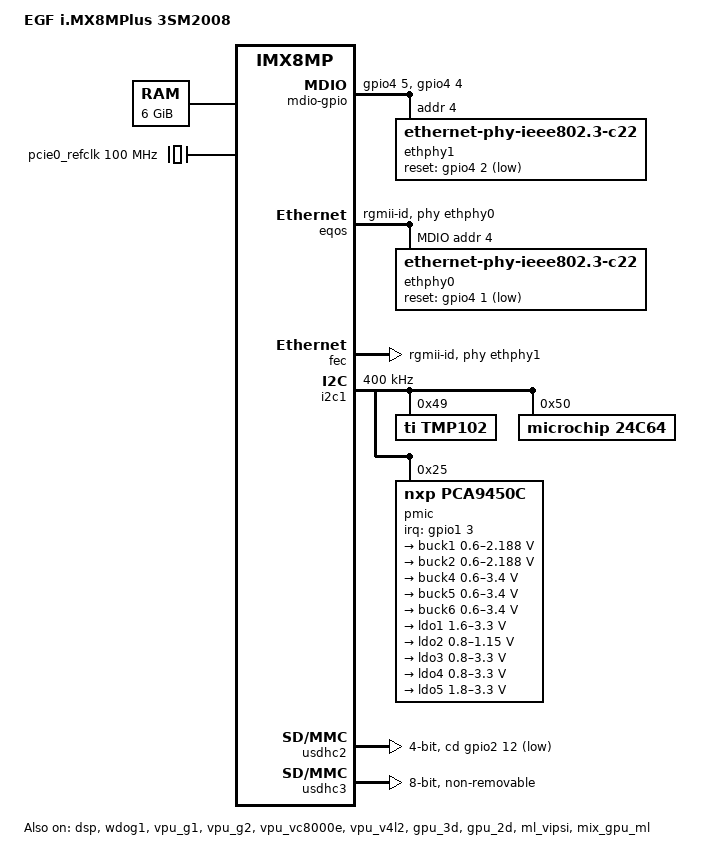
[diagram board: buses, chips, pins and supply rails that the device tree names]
// SPDX-License-Identifier: (GPL-2.0+ OR MIT)
/*
 * Copyright 2019 NXP
 */

/dts-v1/;

#include <dt-bindings/phy/phy-imx8-pcie.h>
#include <dt-bindings/usb/pd.h>
#include "imx8mp.dtsi"

/ {
	model = "EGF i.MX8MPlus 3SM2008";
	compatible = "fsl,imx8mp-evk", "fsl,imx8mp";

	chosen {
		stdout-path = &uart2;
	};


	memory@40000000 {
		device_type = "memory";
		reg = <0x0 0x40000000 0 0xc0000000>,
		      <0x1 0x00000000 0 0xc0000000>;
	};

	pcie0_refclk: pcie0-refclk {
		compatible = "fixed-clock";
		#clock-cells = <0>;
		clock-frequency = <100000000>;
	};



	/*Used mdio gpio driver because of signal inversion on 0700*/

	mdio-gpio {
		compatible = "virtual,mdio-gpio";
		#address-cells = <1>;
		#size-cells = <0>;
		gpios = <&gpio4 5 GPIO_ACTIVE_HIGH
					&gpio4 4 GPIO_ACTIVE_HIGH>;

		ethphy1: ethernet-phy@4 {
			compatible = "ethernet-phy-ieee802.3-c22";
			reg = <4>;
			eee-broken-1000t;
			reset-gpios = <&gpio4 2 GPIO_ACTIVE_LOW>;
			reset-assert-us = <10000>;
			reset-deassert-us = <80000>;
		};
	};


};


&resmem {

	/delete-node/ linux,cma;
	
	
	linux,cma {
		compatible = "shared-dma-pool";
		reusable;
		size = <0 0x0c000000>;
		alloc-ranges = <0 0x40000000 0 0x50000000>;
		linux,cma-default;
	}; 
	
	/delete-node/ gpu_reserved@100000000;
	
	gpu_reserved: gpu_reserved@50000000 {
	no-map;
	reg = <0x0 0x50000000 0 0x10000000>;
	};
	
};


&A53_0 {
	cpu-supply = <&buck2>;
};

&A53_1 {
	cpu-supply = <&buck2>;
};

&A53_2 {
	cpu-supply = <&buck2>;
};

&A53_3 {
	cpu-supply = <&buck2>;
};

&dsp {
	status = "okay";
};

&pwm1 {
	status = "disabled";
};

&pwm2 {

	status = "disabled";
};

&pwm4 {
	
	status = "disabled";
};

&aud2htx {
	status = "disabled";
};



&eqos {
	pinctrl-names = "default";
	pinctrl-0 = <&pinctrl_eqos>;
	phy-mode = "rgmii-id";
	phy-handle = <&ethphy0>;
	snps,force_thresh_dma_mode;
	snps,mtl-tx-config = <&mtl_tx_setup>;
	snps,mtl-rx-config = <&mtl_rx_setup>;
	status = "okay";

	mdio {
		compatible = "snps,dwmac-mdio";
		#address-cells = <1>;
		#size-cells = <0>;

		ethphy0: ethernet-phy@4 {
			compatible = "ethernet-phy-ieee802.3-c22";
			reg = <4>;
			eee-broken-1000t;
			reset-gpios = <&gpio4 1 GPIO_ACTIVE_LOW>;
			reset-assert-us = <10000>;
			reset-deassert-us = <80000>;
			realtek,clkout-disable;
		};
	};

	mtl_tx_setup: tx-queues-config {
		snps,tx-queues-to-use = <5>;
		snps,tx-sched-sp;

		queue0 {
			snps,dcb-algorithm;
			snps,priority = <0x1>;
		};

		queue1 {
			snps,dcb-algorithm;
			snps,priority = <0x2>;
		};

		queue2 {
			snps,dcb-algorithm;
			snps,priority = <0x4>;
		};

		queue3 {
			snps,dcb-algorithm;
			snps,priority = <0x8>;
		};

		queue4 {
			snps,dcb-algorithm;
			snps,priority = <0xf0>;
		};
	};

	mtl_rx_setup: rx-queues-config {
		snps,rx-queues-to-use = <5>;
		snps,rx-sched-sp;

		queue0 {
			snps,dcb-algorithm;
			snps,priority = <0x1>;
			snps,map-to-dma-channel = <0>;
		};

		queue1 {
			snps,dcb-algorithm;
			snps,priority = <0x2>;
			snps,map-to-dma-channel = <1>;
		};

		queue2 {
			snps,dcb-algorithm;
			snps,priority = <0x4>;
			snps,map-to-dma-channel = <2>;
		};

		queue3 {
			snps,dcb-algorithm;
			snps,priority = <0x8>;
			snps,map-to-dma-channel = <3>;
		};

		queue4 {
			snps,dcb-algorithm;
			snps,priority = <0xf0>;
			snps,map-to-dma-channel = <4>;
		};
	};
};

&fec {
	pinctrl-names = "default";
	pinctrl-0 = <&pinctrl_fec>;
	phy-mode = "rgmii-id";
	phy-handle = <&ethphy1>;
	fsl,magic-packet;
	status = "okay";
};

&flexcan1 {
	status = "disabled";
};

&flexcan2 {

	status = "disabled";
};

&i2c1 {
	clock-frequency = <400000>;
	pinctrl-names = "default";
	pinctrl-0 = <&pinctrl_i2c1>;
	status = "okay";

	// Temp Sensor SoM
	tmp102@49 {
		compatible = "ti,tmp102";
		reg = <0x49>;
	};

	// SOM  EEPROM
	24c64@50 {
		compatible = "microchip,24c64";
		pinctrl-names = "default";
		pinctrl-0 = <&pinctrl_eeprom_som>;
		reg = <0x50>;
		pagesize = <16>;
	};

	pmic@25 {
		compatible = "nxp,pca9450c";
		reg = <0x25>;
		pinctrl-names = "default";
		pinctrl-0 = <&pinctrl_pmic>;
		interrupt-parent = <&gpio1>;
		interrupts = <3 IRQ_TYPE_LEVEL_LOW>;

		regulators {
			buck1: BUCK1 {
				regulator-name = "BUCK1";
				regulator-min-microvolt = <600000>;
				regulator-max-microvolt = <2187500>;
				regulator-boot-on;
				regulator-always-on;
				regulator-ramp-delay = <3125>;
			};

			buck2: BUCK2 {
				regulator-name = "BUCK2";
				regulator-min-microvolt = <600000>;
				regulator-max-microvolt = <2187500>;
				regulator-boot-on;
				regulator-always-on;
				regulator-ramp-delay = <3125>;
				nxp,dvs-run-voltage = <950000>;
				nxp,dvs-standby-voltage = <850000>;
			};

			buck4: BUCK4{
				regulator-name = "BUCK4";
				regulator-min-microvolt = <600000>;
				regulator-max-microvolt = <3400000>;
				regulator-boot-on;
				regulator-always-on;
			};

			buck5: BUCK5{
				regulator-name = "BUCK5";
				regulator-min-microvolt = <600000>;
				regulator-max-microvolt = <3400000>;
				regulator-boot-on;
				regulator-always-on;
			};

			buck6: BUCK6 {
				regulator-name = "BUCK6";
				regulator-min-microvolt = <600000>;
				regulator-max-microvolt = <3400000>;
				regulator-boot-on;
				regulator-always-on;
			};

			ldo1: LDO1 {
				regulator-name = "LDO1";
				regulator-min-microvolt = <1600000>;
				regulator-max-microvolt = <3300000>;
				regulator-boot-on;
				regulator-always-on;
			};

			ldo2: LDO2 {
				regulator-name = "LDO2";
				regulator-min-microvolt = <800000>;
				regulator-max-microvolt = <1150000>;
				regulator-boot-on;
				regulator-always-on;
			};

			ldo3: LDO3 {
				regulator-name = "LDO3";
				regulator-min-microvolt = <800000>;
				regulator-max-microvolt = <3300000>;
				regulator-boot-on;
				regulator-always-on;
			};

			ldo4: LDO4 {
				regulator-name = "LDO4";
				regulator-min-microvolt = <800000>;
				regulator-max-microvolt = <3300000>;
				regulator-boot-on;
				regulator-always-on;
			};

			ldo5: LDO5 {
				regulator-name = "LDO5";
				regulator-min-microvolt = <1800000>;
				regulator-max-microvolt = <3300000>;
				regulator-boot-on;
				regulator-always-on;
			};
		};
	};
};

&i2c2 {
	clock-frequency = <400000>;
	pinctrl-names = "default";
	pinctrl-0 = <&pinctrl_i2c2>;
	status = "disabled";
	
};

&i2c3 {
	clock-frequency = <400000>;
	pinctrl-names = "default";
	pinctrl-0 = <&pinctrl_i2c3>;
	status = "disabled";

};


&i2c4 {
	clock-frequency = <400000>;
	pinctrl-names = "default";
	pinctrl-0 = <&pinctrl_i2c4>;
	status = "disabled";
};


&irqsteer_hdmi {
	status = "disabled";
};

&hdmi_blk_ctrl {
	status = "disabled";
};

&hdmi_pavi {
	status = "disabled";
};

&hdmi {
	status = "disabled";
};

&hdmiphy {
	status = "disabled";
};

&lcdif1 {
	status = "disabled";
};

&lcdif2 {
	status = "disabled";
};

&lcdif3 {
	status = "disabled";

	thres-low  = <1 2>;             /* (FIFO * 1 / 2) */
	thres-high = <3 4>;             /* (FIFO * 3 / 4) */
};

&ldb {
	status = "disabled";
};

&ldb_phy {
	status = "disabled";
};

&mipi_dsi {
	status = "disabled";
};



&snvs_pwrkey {
	status = "disabled";
};

&sdma2 {
 	status = "okay";
};

&usb3_phy0 {
	fsl,phy-tx-vref-tune = <0xe>;
	fsl,phy-tx-preemp-amp-tune = <3>;
	fsl,phy-tx-vboost-level = <5>;
	fsl,phy-comp-dis-tune = <7>;
	fsl,pcs-tx-deemph-3p5db = <0x21>;
	fsl,phy-pcs-tx-swing-full = <0x7f>;
	status = "disabled";
};

&usb3_0 {
	status = "disabled";
};

&usb_dwc3_0 {
	dr_mode = "otg";
	hnp-disable;
	srp-disable;
	adp-disable;
	usb-role-switch;
	role-switch-default-mode = "none";
	snps,dis-u1-entry-quirk;
	snps,dis-u2-entry-quirk;
	status = "disabled";

};

&usb3_phy1 {
	fsl,phy-tx-preemp-amp-tune = <3>;
	fsl,phy-tx-vref-tune = <0xb>;
	status = "disabled";
};

&usb3_1 {
	status = "disabled";
};

&usb_dwc3_1 {
	// vbus-supply = <&reg_usb_vbus>;
	dr_mode = "host";
	status = "disabled";
};



&usdhc2 {
	assigned-clocks = <&clk IMX8MP_CLK_USDHC2>;
	assigned-clock-rates = <400000000>;
	pinctrl-names = "default", "state_100mhz", "state_200mhz";
	pinctrl-0 = <&pinctrl_usdhc2>, <&pinctrl_usdhc2_gpio>;
	pinctrl-1 = <&pinctrl_usdhc2_100mhz>, <&pinctrl_usdhc2_gpio>;
	pinctrl-2 = <&pinctrl_usdhc2_200mhz>, <&pinctrl_usdhc2_gpio>;
	cd-gpios = <&gpio2 12 GPIO_ACTIVE_LOW>;
	/*vmmc-supply = <&reg_usdhc2_vmmc>;*/
	bus-width = <4>;
	status = "okay";
};


//EMMC
&usdhc3 {
	assigned-clocks = <&clk IMX8MP_CLK_USDHC3>;
	assigned-clock-rates = <400000000>;
	pinctrl-names = "default", "state_100mhz", "state_200mhz";
	pinctrl-0 = <&pinctrl_usdhc3>;
	pinctrl-1 = <&pinctrl_usdhc3_100mhz>;
	pinctrl-2 = <&pinctrl_usdhc3_200mhz>;
	bus-width = <8>;
	non-removable;
	status = "okay";
};

&wdog1 {
	pinctrl-names = "default";
	pinctrl-0 = <&pinctrl_wdog>;
	fsl,ext-reset-output;
	status = "okay";
};

&iomuxc {
	pinctrl-names = "default";
	pinctrl-0 = <&pinctrl_hog>;


	pinctrl_hog: hoggrp {
		fsl,pins = <
			MX8MP_IOMUXC_HDMI_DDC_SCL__HDMIMIX_HDMI_SCL	0x400001c2
			MX8MP_IOMUXC_HDMI_DDC_SDA__HDMIMIX_HDMI_SDA	0x400001c2
			MX8MP_IOMUXC_HDMI_HPD__HDMIMIX_HDMI_HPD		0x40000010
			MX8MP_IOMUXC_HDMI_CEC__HDMIMIX_HDMI_CEC		0x40000010
		>;
	};

	pinctrl_eqos: eqosgrp {
		fsl,pins = <
			MX8MP_IOMUXC_ENET_MDC__ENET_QOS_MDC				0x2
			MX8MP_IOMUXC_ENET_MDIO__ENET_QOS_MDIO				0x2
			MX8MP_IOMUXC_ENET_RD0__ENET_QOS_RGMII_RD0			0x90
			MX8MP_IOMUXC_ENET_RD1__ENET_QOS_RGMII_RD1			0x90
			MX8MP_IOMUXC_ENET_RD2__ENET_QOS_RGMII_RD2			0x90
			MX8MP_IOMUXC_ENET_RD3__ENET_QOS_RGMII_RD3			0x90
			MX8MP_IOMUXC_ENET_RXC__CCM_ENET_QOS_CLOCK_GENERATE_RX_CLK	0x90
			MX8MP_IOMUXC_ENET_RX_CTL__ENET_QOS_RGMII_RX_CTL			0x90
			MX8MP_IOMUXC_ENET_TD0__ENET_QOS_RGMII_TD0			0x16
			MX8MP_IOMUXC_ENET_TD1__ENET_QOS_RGMII_TD1			0x16
			MX8MP_IOMUXC_ENET_TD2__ENET_QOS_RGMII_TD2			0x16
			MX8MP_IOMUXC_ENET_TD3__ENET_QOS_RGMII_TD3			0x16
			MX8MP_IOMUXC_ENET_TX_CTL__ENET_QOS_RGMII_TX_CTL			0x16
			MX8MP_IOMUXC_ENET_TXC__CCM_ENET_QOS_CLOCK_GENERATE_TX_CLK	0x16
			MX8MP_IOMUXC_SAI1_RXC__GPIO4_IO01				0x10
		>;
	};

	pinctrl_fec: fecgrp {
		fsl,pins = <
			MX8MP_IOMUXC_SAI1_RXD2__GPIO4_IO04		0x22
			MX8MP_IOMUXC_SAI1_RXD3__GPIO4_IO05		0x22
			MX8MP_IOMUXC_SAI1_RXD4__ENET1_RGMII_RD0		0x90
			MX8MP_IOMUXC_SAI1_RXD5__ENET1_RGMII_RD1		0x90
			MX8MP_IOMUXC_SAI1_RXD6__ENET1_RGMII_RD2		0x90
			MX8MP_IOMUXC_SAI1_RXD7__ENET1_RGMII_RD3		0x90
			MX8MP_IOMUXC_SAI1_TXC__ENET1_RGMII_RXC		0x90
			MX8MP_IOMUXC_SAI1_TXFS__ENET1_RGMII_RX_CTL	0x90
			MX8MP_IOMUXC_SAI1_TXD0__ENET1_RGMII_TD0		0x16
			MX8MP_IOMUXC_SAI1_TXD1__ENET1_RGMII_TD1		0x16
			MX8MP_IOMUXC_SAI1_TXD2__ENET1_RGMII_TD2		0x16
			MX8MP_IOMUXC_SAI1_TXD3__ENET1_RGMII_TD3		0x16
			MX8MP_IOMUXC_SAI1_TXD4__ENET1_RGMII_TX_CTL	0x16
			MX8MP_IOMUXC_SAI1_TXD5__ENET1_RGMII_TXC		0x16
			MX8MP_IOMUXC_SAI1_RXD0__GPIO4_IO02		0x10
		>;
	};


	pinctrl_i2c1: i2c1grp {
		fsl,pins = <
			MX8MP_IOMUXC_I2C1_SCL__I2C1_SCL		0x400001c2
			MX8MP_IOMUXC_I2C1_SDA__I2C1_SDA		0x400001c2
		>;
	};

	pinctrl_eeprom_som: eeprom_som {
		fsl,pins = <
			MX8MP_IOMUXC_SD1_RESET_B__GPIO2_IO10 0x00000146  //wp
		>;
	};


	pinctrl_i2c2: i2c2grp {
		fsl,pins = <
			MX8MP_IOMUXC_I2C2_SCL__I2C2_SCL		0x400001c2
			MX8MP_IOMUXC_I2C2_SDA__I2C2_SDA		0x400001c2
		>;
	};

	pinctrl_i2c3: i2c3grp {
		fsl,pins = <
			MX8MP_IOMUXC_I2C3_SCL__I2C3_SCL		0x400001c2
			MX8MP_IOMUXC_I2C3_SDA__I2C3_SDA		0x400001c2
		>;
	};

	pinctrl_i2c4: i2c4grp {
		fsl,pins = <
			MX8MP_IOMUXC_I2C4_SCL__I2C4_SCL		0x400001c2
			MX8MP_IOMUXC_I2C4_SDA__I2C4_SDA		0x400001c2
		>;
	};


	pinctrl_pmic: pmicgrp {
		fsl,pins = <
			MX8MP_IOMUXC_GPIO1_IO03__GPIO1_IO03	0x000001c0 /*Drive Strenth X1, pull up, Schmitt*/
		>;
	};


	pinctrl_usdhc3: usdhc3grp {
		fsl,pins = <
			MX8MP_IOMUXC_NAND_WE_B__USDHC3_CLK	0x190
			MX8MP_IOMUXC_NAND_WP_B__USDHC3_CMD	0x1d0
			MX8MP_IOMUXC_NAND_DATA04__USDHC3_DATA0	0x1d0
			MX8MP_IOMUXC_NAND_DATA05__USDHC3_DATA1	0x1d0
			MX8MP_IOMUXC_NAND_DATA06__USDHC3_DATA2	0x1d0
			MX8MP_IOMUXC_NAND_DATA07__USDHC3_DATA3	0x1d0
			MX8MP_IOMUXC_NAND_RE_B__USDHC3_DATA4	0x1d0
			MX8MP_IOMUXC_NAND_CE2_B__USDHC3_DATA5	0x1d0
			MX8MP_IOMUXC_NAND_CE3_B__USDHC3_DATA6	0x1d0
			MX8MP_IOMUXC_NAND_CLE__USDHC3_DATA7	0x1d0
			MX8MP_IOMUXC_NAND_CE1_B__USDHC3_STROBE	0x190
		>;
	};

	pinctrl_usdhc3_100mhz: usdhc3-100mhzgrp {
		fsl,pins = <
			MX8MP_IOMUXC_NAND_WE_B__USDHC3_CLK	0x194
			MX8MP_IOMUXC_NAND_WP_B__USDHC3_CMD	0x1d4
			MX8MP_IOMUXC_NAND_DATA04__USDHC3_DATA0	0x1d4
			MX8MP_IOMUXC_NAND_DATA05__USDHC3_DATA1	0x1d4
			MX8MP_IOMUXC_NAND_DATA06__USDHC3_DATA2	0x1d4
			MX8MP_IOMUXC_NAND_DATA07__USDHC3_DATA3	0x1d4
			MX8MP_IOMUXC_NAND_RE_B__USDHC3_DATA4	0x1d4
			MX8MP_IOMUXC_NAND_CE2_B__USDHC3_DATA5	0x1d4
			MX8MP_IOMUXC_NAND_CE3_B__USDHC3_DATA6	0x1d4
			MX8MP_IOMUXC_NAND_CLE__USDHC3_DATA7	0x1d4
			MX8MP_IOMUXC_NAND_CE1_B__USDHC3_STROBE	0x194
		>;
	};

	pinctrl_usdhc3_200mhz: usdhc3-200mhzgrp {
		fsl,pins = <
			MX8MP_IOMUXC_NAND_WE_B__USDHC3_CLK	0x196
			MX8MP_IOMUXC_NAND_WP_B__USDHC3_CMD	0x1d6
			MX8MP_IOMUXC_NAND_DATA04__USDHC3_DATA0	0x1d6
			MX8MP_IOMUXC_NAND_DATA05__USDHC3_DATA1	0x1d6
			MX8MP_IOMUXC_NAND_DATA06__USDHC3_DATA2	0x1d6
			MX8MP_IOMUXC_NAND_DATA07__USDHC3_DATA3	0x1d6
			MX8MP_IOMUXC_NAND_RE_B__USDHC3_DATA4	0x1d6
			MX8MP_IOMUXC_NAND_CE2_B__USDHC3_DATA5	0x1d6
			MX8MP_IOMUXC_NAND_CE3_B__USDHC3_DATA6	0x1d6
			MX8MP_IOMUXC_NAND_CLE__USDHC3_DATA7	0x1d6
			MX8MP_IOMUXC_NAND_CE1_B__USDHC3_STROBE	0x196
		>;
	};

	pinctrl_wdog: wdoggrp {
		fsl,pins = <
			MX8MP_IOMUXC_GPIO1_IO02__WDOG1_WDOG_B	0x166 /*Configured pull up and open drain*/
		>;
	};



};

&vpu_g1 {
	status = "okay";
};

&vpu_g2 {
	status = "okay";
};

&vpu_vc8000e {
	status = "okay";
};

&vpu_v4l2 {
	status = "okay";
};

&gpu_3d {
	status = "okay";
};

&gpu_2d {
	status = "okay";
};

&ml_vipsi {
	status = "okay";
};

&mix_gpu_ml {
	/*compatible = "fsl,imx8mp-gpu", "fsl,imx8-gpu-ss";*/
	cores = <&gpu_3d>, <&ml_vipsi>, <&gpu_2d>;
	reg = <0x0 0x40000000 0x0 0x48000000>;
	reg-names = "phys_baseaddr";
	memory-region=<&gpu_reserved>;
	status = "okay";
   };

 
 &clk {
	 assigned-clocks = <&clk IMX8MP_CLK_AUDIO_AHB>,
			   <&clk IMX8MP_CLK_AUDIO_AXI_SRC>,
			   <&clk IMX8MP_AUDIO_PLL1>,
			   <&clk IMX8MP_AUDIO_PLL2>,
			   <&clk IMX8MP_VIDEO_PLL1>;
	 assigned-clock-parents = <&clk IMX8MP_SYS_PLL1_800M>,
				  <&clk IMX8MP_SYS_PLL3_OUT>;
	 assigned-clock-rates = <400000000>,
					<600000000>,
					<393216000>,
					<361267200>,
					<1039500000>;
 };
 
